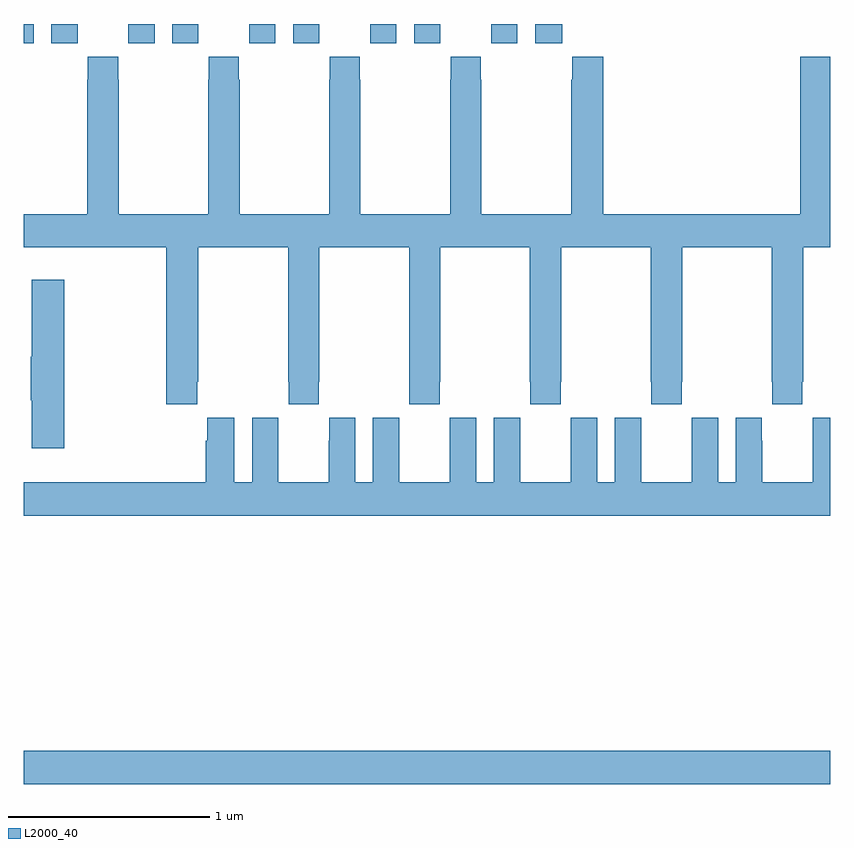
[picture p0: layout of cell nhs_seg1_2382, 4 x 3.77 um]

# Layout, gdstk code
import gdstk
lib = gdstk.Library(unit=1e-6, precision=1e-09)
def R(c, l, rs):  # rectangles x0, y0, x1, y1
    for r in rs: c.add(gdstk.rectangle(r[:2], r[2:], *l))
def P(c, l, *ps):  # polygons
    for p in ps: c.add(gdstk.Polygon(p, *l))
L2000_40 = (2000, 40)

nhs_seg1_2382 = lib.new_cell('nhs_seg1_2382')
R(nhs_seg1_2382, L2000_40, [(241,522.428,245,522.592), (241,526.104,241.048,526.199), (241.136,526.104,241.266,526.199), (241.518,526.104,241.648,526.199), (241.736,526.104,241.866,526.199), (242.118,526.104,242.248,526.199), (242.336,526.104,242.466,526.199), (242.718,526.104,242.848,526.199), (242.936,526.104,243.066,526.199), (243.318,526.104,243.448,526.199), (243.536,526.104,243.67,526.199)])
P(nhs_seg1_2382, L2000_40, [(242.911,524.425),(242.913,524.425),(242.913,524.313),(243.063,524.313),(243.063,524.425),(243.066,524.425),(243.066,525.092),(243.511,525.092),(243.511,524.425),(243.513,524.425),(243.513,524.313),(243.663,524.313),(243.663,524.425),(243.666,524.425),(243.666,525.092),(244.111,525.092),(244.111,524.425),(244.113,524.425),(244.113,524.313),(244.263,524.313),(244.263,524.425),(244.266,524.425),(244.266,525.092),(244.711,525.092),(244.711,524.425),(244.713,524.425),(244.713,524.313),(244.863,524.313),(244.863,524.425),(244.866,524.425),(244.866,525.092),(245,525.092),(245,526.036),(244.853,526.036),(244.853,525.256),(243.875,525.256),(243.875,526.036),(243.721,526.036),(243.721,525.923),(243.715,525.923),(243.715,525.256),(243.27,525.256),(243.27,525.923),(243.267,525.923),(243.267,526.036),(243.117,526.036),(243.117,525.923),(243.115,525.923),(243.115,525.256),(242.67,525.256),(242.67,525.923),(242.667,525.923),(242.667,526.036),(242.517,526.036),(242.517,525.923),(242.515,525.923),(242.515,525.256),(242.07,525.256),(242.07,525.923),(242.067,525.923),(242.067,526.036),(241.917,526.036),(241.917,525.923),(241.915,525.923),(241.915,525.256),(241.47,525.256),(241.47,525.923),(241.467,525.923),(241.467,526.036),(241.317,526.036),(241.317,525.923),(241.315,525.923),(241.315,525.256),(241,525.256),(241,525.092),(241.706,525.092),(241.706,524.313),(241.859,524.313),(241.859,524.425),(241.866,524.425),(241.866,525.092),(242.311,525.092),(242.311,524.425),(242.313,524.425),(242.313,524.313),(242.463,524.313),(242.463,524.425),(242.466,524.425),(242.466,525.092),(242.911,525.092)],
  [(241.199,524.929),(241.04,524.929),(241.04,524.549),(241.033,524.549),(241.033,524.332),(241.04,524.332),(241.04,524.094),(241.199,524.094)],
  [(245,524.245),(244.914,524.245),(244.914,524.132),(244.913,524.132),(244.913,523.924),(244.663,523.924),(244.663,524.132),(244.662,524.132),(244.662,524.245),(244.532,524.245),(244.532,523.924),(244.444,523.924),(244.444,524.245),(244.314,524.245),(244.314,524.132),(244.313,524.132),(244.313,523.924),(244.063,523.924),(244.063,524.132),(244.062,524.132),(244.062,524.245),(243.932,524.245),(243.932,523.924),(243.844,523.924),(243.844,524.245),(243.714,524.245),(243.714,524.132),(243.713,524.132),(243.713,523.924),(243.463,523.924),(243.463,524.132),(243.462,524.132),(243.462,524.245),(243.332,524.245),(243.332,523.924),(243.244,523.924),(243.244,524.245),(243.114,524.245),(243.114,524.132),(243.113,524.132),(243.113,523.924),(242.863,523.924),(242.863,524.132),(242.862,524.132),(242.862,524.245),(242.732,524.245),(242.732,523.924),(242.644,523.924),(242.644,524.245),(242.514,524.245),(242.514,524.132),(242.513,524.132),(242.513,523.924),(242.263,523.924),(242.263,524.132),(242.262,524.132),(242.262,524.245),(242.132,524.245),(242.132,523.924),(242.044,523.924),(242.044,524.245),(241.91,524.245),(241.91,524.132),(241.901,524.132),(241.901,523.924),(241,523.924),(241,523.76),(245,523.76)])

lib.write_gds('nhs_seg1_2382.gds')
